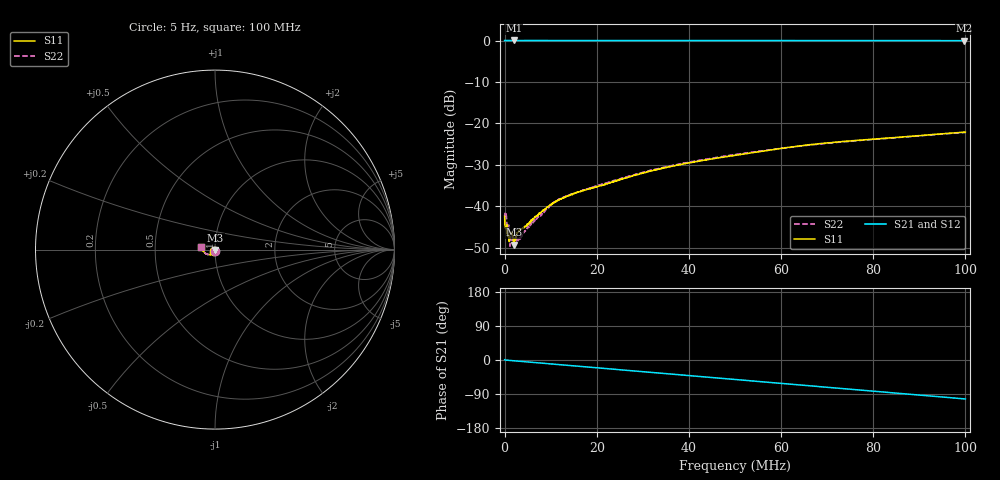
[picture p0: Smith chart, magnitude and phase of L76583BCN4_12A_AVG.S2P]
!Agilent Technologies,E5061B,MY49102235,A.02.00
!Date: Tue Jul 11 17:06:20 2023
!Data & Calibration Information:
!Freq	S11:SOLT2(ON)	S21:SOLT2(ON)	S12:SOLT2(ON)	S22:SOLT2(ON)
# Hz S RI R 50
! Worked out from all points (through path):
!   1600 points, 5 Hz to 100 MHz, reference 50 ohm
!   highest |S21| = 0.02 dB at 2.001 MHz (marker M1); lowest = 0.0 dB at 99.75 MHz (marker M2)
!   group delay of S21, straight-line fit = 2.86 ns
!   lowest |S11| = -49.3 dB at 2.126 MHz (marker M3), VSWR 1.01, Z = 50.3 - j0.223 ohm
!   |S11| at or under -10 dB: start of sweep to end of sweep
!   |S22| runs from -49.6 to -22.2 dB; largest |S21 - S12| = 0.0027
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5  -0.00513 -0.00563  1.002 0.00801  1.001 0.0103  -0.0014 -0.00755
437778.6  0.00516 -0.000443  1.001 -0.00548  1.001 -0.0062  0.00661 -0.00207
625395.8  0.00511 -0.000422  1.002 -0.0107  1.002 -0.0102  0.00613 -0.000779
938091.3  0.00428 -8.56e-05  1.002 -0.0153  1.001 -0.0149  0.00587 -0.00067
1500943  0.0043 -0.00198  1.002 -0.0256  1.001 -0.0253  0.003 -0.00314
2001256  0.00301 -0.00211  1.002 -0.036  1.001 -0.0353  0.00315 -0.00184
2126334  0.00264 -0.00222  1.001 -0.0383  1 -0.0374  0.0038 -0.00165
2439029  0.00375 -0.00217  1 -0.0443  0.9993 -0.0433  0.0036 -0.00171
2751725  0.00418 -0.00238  1 -0.0489  0.9995 -0.0483  0.00318 -0.00211
3252037  0.00425 -0.00303  0.9995 -0.0582  0.999 -0.0577  0.00317 -0.00254
6003757  0.00347 -0.00573  0.9953 -0.1074  0.9952 -0.1069  0.00303 -0.00556
9631024  0.0019 -0.00985  0.9864 -0.1721  0.986 -0.1716  0.00128 -0.00988
1.156974e7  0.000697 -0.0119  0.9799 -0.2062  0.9794 -0.2057  -0.000173 -0.012
1.669794e7  -0.00232 -0.0151  0.9561 -0.2953  0.9559 -0.2947  -0.00271 -0.0151
2.582865e7  -0.00737 -0.0202  0.8955 -0.4473  0.8952 -0.4468  -0.00538 -0.0214
3.333334e7  -0.0138 -0.0244  0.827 -0.5634  0.8268 -0.5628  -0.0125 -0.0255
5.003127e7  -0.0303 -0.0277  0.6236 -0.7822  0.6235 -0.7816  -0.0306 -0.0286
6.672921e7  -0.051 -0.0228  0.3643 -0.9306  0.3647 -0.9303  -0.0502 -0.0227
7.53596e7  -0.0598 -0.0154  0.2165 -0.9752  0.2168 -0.9748  -0.0591 -0.016
8.33646e7  -0.0663 -0.00596  0.0748 -0.996  0.075 -0.9958  -0.0657 -0.00764
9.974984e7  -0.0766 0.0167  -0.2171 -0.9736  -0.2166 -0.9737  -0.0762 0.0142
1e8  -0.0767 0.017  -0.2215 -0.9728  -0.2211 -0.9728  -0.0765 0.0147
